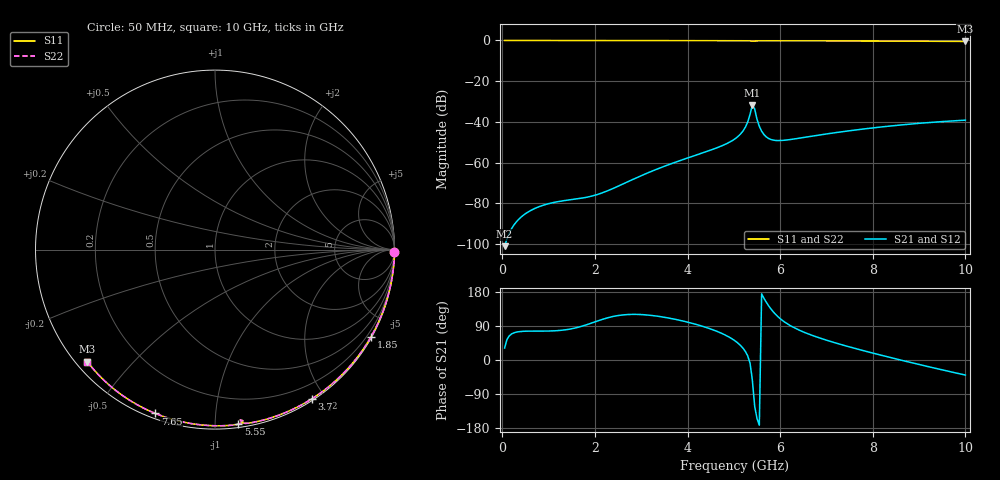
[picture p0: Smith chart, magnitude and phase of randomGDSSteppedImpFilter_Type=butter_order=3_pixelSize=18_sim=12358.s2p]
! freq	dB(S11)	phase(S11)	dB(S12)	phase(S12)
!  dB(S21)	phase(S21)	dB(S22)	phase(S22)
!S-par simulation data
#  GHz  S  DB  R 50
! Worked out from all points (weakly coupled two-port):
!   200 points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, 50 MHz to 10 GHz, reference 50 ohm
!   highest |S21| = -31.61 dB at 5.4 GHz (marker M1); lowest = -101.0 dB at 50 MHz (marker M2)
!   lowest |S11| = -0.5 dB at 10 GHz (marker M3), VSWR 36.56, Z = 1.56 - j18.8 ohm
!   |S11| at or under -10 dB: nowhere
!   |S22| runs from -0.5 to 0.0 dB; largest |S21 - S12| = 0
!   S11 on the Smith chart (normalised r, x): 50 MHz: open; 1.85 GHz: 0.03, -3.83; 3.7 GHz: 0.02, -1.84; 5.55 GHz: 0.02, -1.14; 7.65 GHz: 0.02, -0.70; 10 GHz: 0.03, -0.38
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0.05  -0.00 -0.8  -100.97 31.6  -100.97 31.6  -0.00 -0.8
1  -0.02 -15.9  -80.11 76.4  -80.11 76.4  -0.02 -15.9
1.75  -0.04 -27.7  -77.26 90.2  -77.26 90.2  -0.04 -27.7
1.85  -0.04 -29.2  -76.82 94.2  -76.82 94.2  -0.04 -29.2
2.3  -0.05 -36.2  -73.55 112.2  -73.55 112.2  -0.05 -36.2
3.4  -0.07 -52.7  -62.62 114.7  -62.62 114.7  -0.07 -52.7
3.7  -0.08 -57.0  -60.06 108.2  -60.06 108.2  -0.08 -57.0
4.7  -0.11 -71.3  -52.09 72.4  -52.09 72.4  -0.11 -71.3
5.05  -0.12 -76.3  -47.86 48.3  -47.86 48.3  -0.12 -76.3
5.25  -0.14 -79.2  -42.52 22.4  -42.52 22.4  -0.14 -79.2
5.3  -0.15 -80.1  -39.99 10.8  -39.99 10.8  -0.15 -80.1
5.4  -0.36 -81.6  -31.61 -53.3  -31.61 -53.3  -0.36 -81.6
5.45  -0.30 -80.7  -33.68 -122.1  -33.68 -122.1  -0.30 -80.7
5.5  -0.19 -81.5  -38.67 -154.3  -38.67 -154.3  -0.19 -81.5
5.55  -0.16 -82.4  -42.14 -172.0  -42.14 -172.0  -0.16 -82.4
5.6  -0.15 -83.2  -44.52 174.5  -44.52 174.5  -0.15 -83.2
5.7  -0.15 -84.6  -47.32 152.5  -47.32 152.5  -0.15 -84.6
5.85  -0.15 -86.7  -48.90 127.4  -48.90 127.4  -0.15 -86.7
6.7  -0.19 -97.9  -46.93 64.6  -46.93 64.6  -0.19 -97.9
7.65  -0.25 -110.0  -43.87 29.5  -43.87 29.5  -0.25 -110.0
8.35  -0.31 -118.6  -42.06 7.4  -42.06 7.4  -0.31 -118.6
10  -0.48 -138.7  -39.12 -39.8  -39.12 -39.8  -0.48 -138.7
